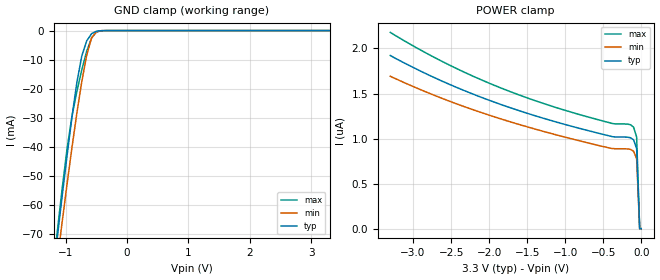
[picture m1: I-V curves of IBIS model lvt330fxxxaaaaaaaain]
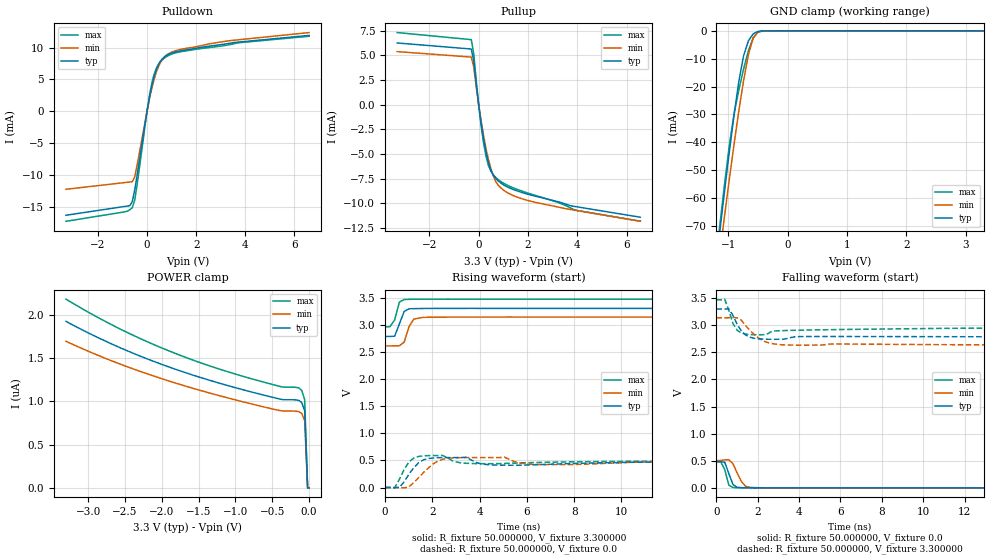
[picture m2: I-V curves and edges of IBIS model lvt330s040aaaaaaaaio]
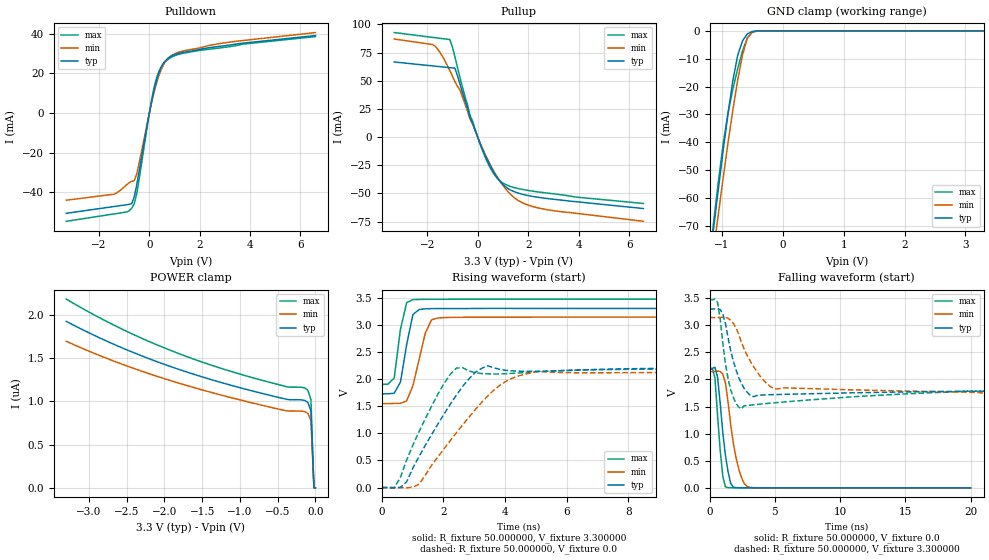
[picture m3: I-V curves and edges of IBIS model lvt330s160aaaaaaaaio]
| IBIS Models Generator: Lattice Diamond (64-bit) 3.12.0.240.2
| Generate date: Mon Aug 16 21:36:25 2021
| IBIS File machxo.ibs
| LibisGen v2.0.1.0, 02/25/2008, Lattice Semiconductor Corporation
| Modified by LibisMaker v2.0.1.0, 02/25/2008, Lattice Semiconductor
| North Carolina State University, ERL, 2006
[IBIS ver]   3.2
[File Name]   RAM2GS_LCMXO256C_im~.ibs
[File Rev]   2.2
[Date]   Mon Sep 28 10:44:10 EDT 2009
[Source]   Lattice Semiconductor EE12 Process
[Notes]   "Preliminary Version"
   Lattice Semiconductor has worked hard to ensure the
   models below are accurate and complete.  However, the
   data below was generated using simulation of the
   input/output model files for the silicon.  Therefore,
   the data below is for reference and initial design
   purposes only.
   The data below is correlated to Spice models.
   For questions regarding this data please contact
   us at www.latticesemi.com.
   Lattice Semiconductor grants permission to use this
   data for use in printed circuit design using this
   Lattice programmable logic device.  Other use of this
   code, including the selling or duplication of any
   portion is strictly prohibited.
|   NAMING CONVENTION
   The IBIS [Model] header is limited by the specification to a
   total of characters.  With such a set of characters available
   for naming models it becomes important to attempt to
   meaningfully encode the IO standards so they fit within the
   twenty character limit.  It would seem that twenty characters
   would provide room enough for describing IO's.  However, the
   PLD IO structure continues to grow more and more complex.  The
   complexity is making the twenty characters insuffiently
   descriptive.  In order to overcome this issue the naming
   convention described below is implemented to resolve the issue.
The twenty character space is managed as follows:
   bbbvvvsdddprugtcoixx
   b = standard
   v = voltage (x.xx V)
   s = slew code
   d = drive (xx.x ma)
   p = pullup code
   r = series resistance code
   u = terminate to vcc code
   g = terminate to gnd code
   t = terminate to vtt code
   c = common mode termination mode
   o = diff resistor code
   i = diff resistor current code
   x = reserved
   standard
   LVCMOS   lvc
   lvcmosd   lvd
   LVDSE   lve
   LVTTL   lvt
   lvttld   ltd
   PCI   pci
   pcix   pcx
   AGP1x   ag1
   agp2x   ag2
   sstl_I   ss1
   sstl_II   ss2
   sstld_I   s1d
   sstld_II   s2d
   CTT   ctt
   hstl_i   hs1
   hstl_ii   hs2
   hstl_iii   hs3
   hstl_iv   hs4
   hstld_i   h1d
   hstld_ii   h2d
   gtl   gtl
   gtlplus   gtp
   lvds   lvs
   blvds   blv
   mlvds   mlv
   lvpecl   lvp
   cml   cml
   hypt   hyp
   rsds   rsd
   vref1   vr1
   vref2   vr2
   ref_res   rer
   slew
   na   a
   fast   f
   slow   s
   pullmode
   off   a
   pullup   b
   pulldown   c
   bushold   d
   pciclamp   e
   up_pciclamp   f
   down_pciclamp   g
   keeper_pciclamp   h
   schmitt   i
   up_schmitt   j
   down_schmitt   k
   keeper_schmitt   l
   up_pciclamp_schmitt   m
   down_pciclamp_schmitt   n
   keeper_pciclamp_schmitt  o
   pciclamp_schmitt   p
   impedence
   off   a
   25   b
   33   c
   50   d
   100   e
   termVCC
   off   a
   50   b
   100   c
   120   d
   termGND
   off   a
   50   b
   100   c
   120   d
   termVTT
   off   a
   60   b
   75   c
   120   d
   150   e
   210   f
   VCMT
   off   a
   VCMT   b
   VTT   c
   DDR-2   d
   differential resistor
   off   a
   120   b
   150   c
   220   d
   420   e
   differential current
   NA   a
   2   b
   3.5   c
   4   d
   6   e
   Reserved   IO type
   in   input only
   ou   output
   io   I/O
   od   Open drain
   on   Inverting differential I/O
   (signal name only)
   op   Non-Inverting differential I/O
   (signal name only)
   All the IO models are generated with pull mode set to UP.
   Lattice Semiconductor Corporation
   5555 NE Moore Court
   Hillsboro, OR 97214
   U.S.A
   TEL: 1-800-Lattice (USA and Canada)
   408-826-6000 (other locations)
   web: http://www.latticesemi.com/
   email: techsupport@latticesemi.com
[Disclaimer] This IBIS source code is intended as a design reference
   which illustrates how the Lattice Semiconductor device operates.
   It is the user's responsibility to verify their design for
   consistency and functionality through the use of formal
   verification methods.  Lattice Semiconductor provides no warranty
   regarding the use or functionality of this data.
[Copyright]   Copyright 2009 by Lattice Semiconductor Corporation
|   Component XO
[Component]   MXO256_MXO640_MXO1K_MXO2K
[Manufacturer]   Lattice Semiconductor Corp.
[Package]
|TQFP100
| variable   typ   min   max
R_pkg   70.5m   54.0m   87.0m
L_pkg   4.57nH   4.27nH   4.87nH
C_pkg   .52pF   .47pF   .57pF
[Pin] signal_name   model_name   R_pin   L_pin   C_pin
32   CROW[0]   lvt330fxxxaaaaaaaain
34   CROW[1]   lvt330fxxxaaaaaaaain
21   Din[0]   lvt330fxxxaaaaaaaain
15   Din[1]   lvt330fxxxaaaaaaaain
14   Din[2]   lvt330fxxxaaaaaaaain
16   Din[3]   lvt330fxxxaaaaaaaain
18   Din[4]   lvt330fxxxaaaaaaaain
17   Din[5]   lvt330fxxxaaaaaaaain
20   Din[6]   lvt330fxxxaaaaaaaain
19   Din[7]   lvt330fxxxaaaaaaaain
1   Dout[0]   lvt330s040aaaaaaaaio
7   Dout[1]   lvt330s040aaaaaaaaio
8   Dout[2]   lvt330s040aaaaaaaaio
6   Dout[3]   lvt330s040aaaaaaaaio
4   Dout[4]   lvt330s040aaaaaaaaio
5   Dout[5]   lvt330s040aaaaaaaaio
2   Dout[6]   lvt330s040aaaaaaaaio
3   Dout[7]   lvt330s040aaaaaaaaio
57   LED   lvt330s160aaaaaaaaio
23   MAin[0]   lvt330fxxxaaaaaaaain
38   MAin[1]   lvt330fxxxaaaaaaaain
37   MAin[2]   lvt330fxxxaaaaaaaain
47   MAin[3]   lvt330fxxxaaaaaaaain
46   MAin[4]   lvt330fxxxaaaaaaaain
45   MAin[5]   lvt330fxxxaaaaaaaain
49   MAin[6]   lvt330fxxxaaaaaaaain
44   MAin[7]   lvt330fxxxaaaaaaaain
50   MAin[8]   lvt330fxxxaaaaaaaain
51   MAin[9]   lvt330fxxxaaaaaaaain
39   PHI2   lvt330fxxxaaaaaaaain
98   RA[0]   lvt330s040aaaaaaaaio
87   RA[10]   lvt330s040aaaaaaaaio
79   RA[11]   lvt330s040aaaaaaaaio
89   RA[1]   lvt330s040aaaaaaaaio
94   RA[2]   lvt330s040aaaaaaaaio
97   RA[3]   lvt330s040aaaaaaaaio
99   RA[4]   lvt330s040aaaaaaaaio
95   RA[5]   lvt330s040aaaaaaaaio
91   RA[6]   lvt330s040aaaaaaaaio
100   RA[7]   lvt330s040aaaaaaaaio
96   RA[8]   lvt330s040aaaaaaaaio
85   RA[9]   lvt330s040aaaaaaaaio
63   RBA[0]   lvt330s040aaaaaaaaio
83   RBA[1]   lvt330s040aaaaaaaaio
82   RCKE   lvt330s040aaaaaaaaio
86   RCLK   lvt330fxxxaaaaaaaain
76   RDQMH   lvt330s040aaaaaaaaio
61   RDQML   lvt330s040aaaaaaaaio
64   RD[0]   lvt330s040aaaaaaaaio
65   RD[1]   lvt330s040aaaaaaaaio
66   RD[2]   lvt330s040aaaaaaaaio
67   RD[3]   lvt330s040aaaaaaaaio
68   RD[4]   lvt330s040aaaaaaaaio
69   RD[5]   lvt330s040aaaaaaaaio
70   RD[6]   lvt330s040aaaaaaaaio
71   RD[7]   lvt330s040aaaaaaaaio
58   UFMCLK   lvt330s040aaaaaaaaio
56   UFMSDI   lvt330s040aaaaaaaaio
55   UFMSDO   lvt330fxxxaaaaaaaain
27   nCCAS   lvt330fxxxaaaaaaaain
43   nCRAS   lvt330fxxxaaaaaaaain
22   nFWE   lvt330fxxxaaaaaaaain
78   nRCAS   lvt330s040aaaaaaaaio
77   nRCS   lvt330s040aaaaaaaaio
73   nRRAS   lvt330s040aaaaaaaaio
72   nRWE   lvt330s040aaaaaaaaio
53   nUFMCS   lvt330s040aaaaaaaaio
| Models and submodels in the file (3): lvt330fxxxaaaaaaaain (Input), lvt330s040aaaaaaaaio (I/O), lvt330s160aaaaaaaaio (I/O)
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[Model]   lvt330fxxxaaaaaaaain
Model_type   Input
Polarity   Non-Inverting
Enable   Active-Low
Vinl =   0.800000V
Vinh =   2.000000V
C_comp   2.68pF   2.54pF   2.92pF
[Temperature Range]   25.000000   0.105000k   -40.000000
[Voltage Range]   3.300000V   3.140000V   3.470000V
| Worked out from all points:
|   GND clamp passes 1 mA (typ) near -0.57 V on its own axis
[GND_clamp]
|Voltage   I(typ)   I(min)   I(max)
-3.3V     -966.2mA   -950.5mA   -981.2mA
-1.14V    -71.66mA   -79.64mA   -69.55mA
-1.06V    -57.22mA   -66.14mA   -54.65mA
-980mV    -43.21mA   -53.02mA   -40.87mA
-900mV    -29.92mA   -40.4mA    -29.6mA
-820mV    -17.96mA   -28.51mA   -21.04mA
-740mV    -8.811mA   -17.67mA   -13.57mA
-660mV    -3.585mA   -8.563mA   -7.151mA
-580mV    -1.078mA   -2.529mA   -2.551mA
-500mV    -216.5uA   -395.1uA   -485.3uA
-340mV    -4.48uA    -6.181uA   -4.704uA
3.3V      152nA      1.621uA    132.3nA
[POWER_clamp]
|Voltage   I(typ)   I(min)   I(max)
-3.3V     1.922uA    1.692uA    2.179uA
-2.94V    1.765uA    1.556uA    2.001uA
-2.54V    1.609uA    1.421uA    1.823uA
-1.74V    1.348uA    1.191uA    1.527uA
-1.26V    1.219uA    1.074uA    1.383uA
-700mV    1.089uA    951.8nA    1.24uA
-380mV    1.022uA    889.5nA    1.168uA
-140mV    1.009uA    880.1nA    1.154uA
-100mV    985.5nA    859.3nA    1.126uA
-60mV     890.1nA    776.2nA    1.017uA
-20mV     1.5pA      1.2pA      1.8pA
0V        0A         0A         0A
[Model]   lvt330s040aaaaaaaaio
Model_type   I/O
Polarity   Non-Inverting
Enable   Active-Low
Vinl =   0.800000V
Vinh =   2.000000V
Vmeas =   1.650000V
Cref =   0.0F
Rref =   1.000000M
Vref =   0.0V
C_comp   2.68pF   2.54pF   2.92pF
[Temperature Range]   25.000000   0.105000k   -40.000000
[Voltage Range]   3.300000V   3.140000V   3.470000V
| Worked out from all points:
|   slope of the pulldown table from 0 to 0.495 V, typ, clamps not added: 65.9 ohm
|   slope of the pullup table from 0 to 0.495 V, typ, clamps not added: 74.4 ohm
|   GND clamp passes 1 mA (typ) near -0.57 V on its own axis
|   rising waveform, R_fixture 50.000000, V_fixture 3.300000: 20-80 % time 275ps typ, 279ps min, 212ps max; typ from 2.78 V to 3.3 V
|   rising waveform, R_fixture 50.000000, V_fixture 0.0: 20-80 % time 472ps typ, 707ps min, 353ps max; typ from 0 V to 0.479 V
|   falling waveform, R_fixture 50.000000, V_fixture 0.0: 20-80 % time 280ps typ, 394ps min, 236ps max; typ from 0.48 V to 0 V
|   falling waveform, R_fixture 50.000000, V_fixture 3.300000: 20-80 % time 454ps typ, 845ps min, 269ps max; typ from 3.3 V to 2.78 V
[Pulldown]
|Voltage   I(typ)   I(min)   I(max)
-3.3V     -16.26mA   -12.2mA    -17.21mA
-700mV    -14.76mA   -11.06mA   -15.39mA
-600mV    -14.12mA   -11.01mA   -15.09mA
-500mV    -12.31mA   -10.25mA   -13.89mA
-400mV    -9.922mA   -8.354mA   -11.4mA
0V        9.27nA     8.64nA     10.95nA
200mV     4.086mA    3.684mA    4.499mA
400mV     6.738mA    6.352mA    6.93mA
700mV     8.511mA    8.477mA    8.338mA
1.2V      9.34mA     9.543mA    9.202mA
2.7V      10.3mA     10.68mA    10.07mA
6.6V      11.89mA    12.34mA    11.76mA
[Pullup]
|Voltage   I(typ)   I(min)   I(max)
-3.3V     6.26mA     5.385mA    7.315mA
-300mV    5.646mA    4.829mA    6.598mA
-200mV    4.436mA    3.802mA    5.175mA
0V        -6.17nA    -5.46nA    -7.06nA
100mV     -1.893mA   -1.674mA   -2.146mA
200mV     -3.512mA   -3.165mA   -3.901mA
300mV     -4.855mA   -4.471mA   -5.258mA
500mV     -6.695mA   -6.526mA   -6.766mA
800mV     -7.747mA   -8.192mA   -7.615mA
1.7V      -8.86mA    -9.494mA   -8.714mA
3.9V      -10.32mA   -10.71mA   -10.68mA
6.55V     -11.41mA   -11.82mA   -11.81mA
[GND_clamp]
|Voltage   I(typ)   I(min)   I(max)
-3.3V     -966.2mA   -950.5mA   -981.2mA
-1.14V    -71.66mA   -79.64mA   -69.55mA
-1.06V    -57.22mA   -66.14mA   -54.65mA
-980mV    -43.21mA   -53.02mA   -40.87mA
-900mV    -29.92mA   -40.4mA    -29.6mA
-820mV    -17.96mA   -28.51mA   -21.04mA
-740mV    -8.811mA   -17.67mA   -13.57mA
-660mV    -3.585mA   -8.563mA   -7.151mA
-580mV    -1.078mA   -2.529mA   -2.551mA
-500mV    -216.5uA   -395.1uA   -485.3uA
-340mV    -4.48uA    -6.181uA   -4.704uA
3.3V      152nA      1.621uA    132.3nA
[POWER_clamp]
|Voltage   I(typ)   I(min)   I(max)
-3.3V     1.922uA    1.692uA    2.179uA
-2.94V    1.765uA    1.556uA    2.001uA
-2.54V    1.609uA    1.421uA    1.823uA
-1.74V    1.348uA    1.191uA    1.527uA
-1.26V    1.219uA    1.074uA    1.383uA
-700mV    1.089uA    951.8nA    1.24uA
-380mV    1.022uA    889.5nA    1.168uA
-140mV    1.009uA    880.1nA    1.154uA
-100mV    985.5nA    859.3nA    1.126uA
-60mV     890.1nA    776.2nA    1.017uA
-20mV     1.5pA      1.2pA      1.8pA
0V        0A         0A         0A
[Ramp]
| variable   typ   min   max
dV/dt_r  0.287457/0.467122n  0.301305/0.700268n  0.291706/0.349090n
dV/dt_f  0.309900/0.449885n  0.304680/0.837003n  0.308100/0.266290n
R_load = 50.000000
[Rising Waveform]
R_fixture=   50.000000
V_fixture=   3.300000
V_fixture_min=   3.140000
V_fixture_max=   3.470000
|time   V(typ)   V(min)   V(max)
0s        2.783V     2.609V     2.96V
202ps     2.783V     2.609V     2.963V
404ps     2.788V     2.611V     3.087V
606.1ps   3.016V     2.612V     3.417V
808.1ps   3.244V     2.679V     3.463V
1.01ns    3.292V     2.962V     3.467V
1.212ns   3.296V     3.103V     3.469V
1.616ns   3.299V     3.136V     3.47V
5.253ns   3.3V       3.141V     3.47V
20ns      3.3V       3.14V      3.47V
[Rising Waveform]
R_fixture=   50.000000
V_fixture=   0.0
V_fixture_min=   0.0
V_fixture_max=   0.0
|time   V(typ)   V(min)   V(max)
0s        4.226uV    4.92uV     3.956uV
404ps     -1.733mV   5.664uV    -6.572mV
606.1ps   1.817mV    -405uV     151.9mV
1.01ns    246.8mV    13.03mV    470.8mV
1.818ns   534.4mV    353.6mV    588mV
2.424ns   550.8mV    517.3mV    590.9mV
3.03ns    551.6mV    548.7mV    468.1mV
5.051ns   411.1mV    558.9mV    443.3mV
6.667ns   423.7mV    422.4mV    463.5mV
20ns      479.1mV    502.2mV    486.2mV
[Falling Waveform]
R_fixture=   50.000000
V_fixture=   0.0
V_fixture_min=   0.0
V_fixture_max=   0.0
|time   V(typ)   V(min)   V(max)
0s        479.6mV    504.1mV    486.2mV
202ps     479.6mV    504.1mV    490.5mV
404ps     474.7mV    515.9mV    338.7mV
606.1ps   261mV      518.8mV    49.23mV
808.1ps   57.69mV    442.4mV    5.359mV
1.01ns    10.01mV    270.6mV    1.611mV
1.212ns   3.219mV    116.6mV    420.3uV
1.414ns   1.54mV     28.45mV    168.6uV
1.818ns   242.7uV    4.556mV    28.11uV
20ns      4.294uV    6.077uV    3.344uV
[Falling Waveform]
R_fixture=   50.000000
V_fixture=   3.300000
V_fixture_min=   3.140000
V_fixture_max=   3.470000
|time   V(typ)   V(min)   V(max)
0s        3.3V       3.14V      3.47V
404ps     3.301V     3.139V     3.483V
606.1ps   3.304V     3.14V      3.272V
808.1ps   3.179V     3.146V     3.03V
1.01ns    3.015V     3.136V     2.907V
1.616ns   2.781V     2.91V      2.829V
2.222ns   2.745V     2.722V     2.826V
3.232ns   2.743V     2.639V     2.902V
4.444ns   2.794V     2.634V     2.913V
20ns      2.784V     2.632V     2.957V
[Model]   lvt330s160aaaaaaaaio
Model_type   I/O
Polarity   Non-Inverting
Enable   Active-Low
Vinl =   0.800000V
Vinh =   2.000000V
Vmeas =   1.650000V
Cref =   0.0F
Rref =   1.000000M
Vref =   0.0V
C_comp   2.68pF   2.54pF   2.92pF
[Temperature Range]   25.000000   0.105000k   -40.000000
[Voltage Range]   3.300000V   3.140000V   3.470000V
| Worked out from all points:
|   slope of the pulldown table from 0 to 0.495 V, typ, clamps not added: 21 ohm
|   slope of the pullup table from 0 to 0.495 V, typ, clamps not added: 19.3 ohm
|   GND clamp passes 1 mA (typ) near -0.57 V on its own axis
|   rising waveform, R_fixture 50.000000, V_fixture 3.300000: 20-80 % time 301ps typ, 401ps min, 257ps max; typ from 1.73 V to 3.3 V
|   rising waveform, R_fixture 50.000000, V_fixture 0.0: 20-80 % time 1.41ns typ, 1.85ns min, 1.09ns max; typ from 0 V to 2.2 V
|   falling waveform, R_fixture 50.000000, V_fixture 0.0: 20-80 % time 592ps typ, 813ps min, 429ps max; typ from 2.2 V to 0 V
|   falling waveform, R_fixture 50.000000, V_fixture 3.300000: 20-80 % time 917ps typ, 2.42ns min, 533ps max; typ from 3.3 V to 1.78 V
[Pulldown]
|Voltage   I(typ)   I(min)   I(max)
-3.3V     -50.58mA   -44mA      -54.62mA
-1.4V     -47.16mA   -40.96mA   -50.9mA
-700mV    -45.75mA   -34.43mA   -47.99mA
-600mV    -42.25mA   -34.2mA    -45.78mA
-500mV    -36.17mA   -30.75mA   -40.6mA
0V        27.19nA    25.68nA    31.68nA
200mV     12.31mA    11.16mA    13.53mA
400mV     20.91mA    19.66mA    21.67mA
700mV     27.21mA    27.01mA    26.7mA
1.2V      30.22mA    30.85mA    29.77mA
2.6V      33.37mA    34.65mA    32.57mA
6.6V      39.13mA    40.62mA    38.6mA
[Pullup]
|Voltage   I(typ)   I(min)   I(max)
-3.3V     66.67mA    87.09mA    92.8mA
-1.8V     63.23mA    82.32mA    88.56mA
-1.1V     61.63mA    59.06mA    86.58mA
-900mV    61.17mA    49.19mA    71.28mA
-700mV    47.05mA    41.79mA    52.9mA
-300mV    17.1mA     15.82mA    19mA
100mV     -5.905mA   -5.395mA   -6.53mA
600mV     -29.95mA   -28.77mA   -31.34mA
1V        -42.15mA   -42.97mA   -40.89mA
1.6V      -49.72mA   -56.3mA    -45.7mA
2.3V      -53.16mA   -62.43mA   -48.42mA
6.55V     -63.46mA   -74.8mA    -58.95mA
[GND_clamp]
|Voltage   I(typ)   I(min)   I(max)
-3.3V     -966.2mA   -950.5mA   -981.2mA
-1.14V    -71.66mA   -79.64mA   -69.55mA
-1.06V    -57.22mA   -66.14mA   -54.65mA
-980mV    -43.21mA   -53.02mA   -40.87mA
-900mV    -29.92mA   -40.4mA    -29.6mA
-820mV    -17.96mA   -28.51mA   -21.04mA
-740mV    -8.811mA   -17.67mA   -13.57mA
-660mV    -3.585mA   -8.563mA   -7.151mA
-580mV    -1.078mA   -2.529mA   -2.551mA
-500mV    -216.5uA   -395.1uA   -485.3uA
-340mV    -4.48uA    -6.181uA   -4.704uA
3.3V      152nA      1.621uA    132.3nA
[POWER_clamp]
|Voltage   I(typ)   I(min)   I(max)
-3.3V     1.922uA    1.692uA    2.179uA
-2.94V    1.765uA    1.556uA    2.001uA
-2.54V    1.609uA    1.421uA    1.823uA
-1.74V    1.348uA    1.191uA    1.527uA
-1.26V    1.219uA    1.074uA    1.383uA
-700mV    1.089uA    951.8nA    1.24uA
-380mV    1.022uA    889.5nA    1.168uA
-140mV    1.009uA    880.1nA    1.154uA
-100mV    985.5nA    859.3nA    1.126uA
-60mV     890.1nA    776.2nA    1.017uA
-20mV     1.5pA      1.2pA      1.8pA
0V        0A         0A         0A
[Ramp]
| variable   typ   min   max
dV/dt_r  1.322279/1.397370n  1.285979/1.830494n  1.312139/1.075717n
dV/dt_f  0.909660/0.907875n  0.826020/1.758264n  1.011840/0.527820n
R_load = 50.000000
[Rising Waveform]
R_fixture=   50.000000
V_fixture=   3.300000
V_fixture_min=   3.140000
V_fixture_max=   3.470000
|time   V(typ)   V(min)   V(max)
0s        1.726V     1.546V     1.9V
202ps     1.727V     1.546V     1.905V
404ps     1.737V     1.55V      2.018V
606.1ps   1.942V     1.552V     2.913V
808.1ps   2.634V     1.597V     3.407V
1.01ns    3.187V     1.875V     3.461V
1.414ns   3.293V     2.848V     3.467V
1.616ns   3.296V     3.09V      3.468V
1.818ns   3.297V     3.124V     3.468V
20ns      3.3V       3.14V      3.47V
[Rising Waveform]
R_fixture=   50.000000
V_fixture=   0.0
V_fixture_min=   0.0
V_fixture_max=   0.0
|time   V(typ)   V(min)   V(max)
0s        1.86uV     2.247uV    1.68uV
404ps     -1.717mV   272.5nV    -4.681mV
808.1ps   107mV      -5.196mV   507.8mV
1.212ns   574.2mV    63.09mV    1.032V
2.02ns    1.354V     714.4mV    1.916V
2.424ns   1.705V     1.013V     2.202V
3.434ns   2.243V     1.684V     2.095V
4.04ns    2.158V     1.962V     2.098V
5.051ns   2.142V     2.138V     2.135V
20ns      2.204V     2.143V     2.187V
[Falling Waveform]
R_fixture=   50.000000
V_fixture=   0.0
V_fixture_min=   0.0
V_fixture_max=   0.0
|time   V(typ)   V(min)   V(max)
0s        2.204V     2.143V     2.187V
404ps     2.223V     2.148V     2.033V
606.1ps   2.041V     2.153V     1.33V
1.01ns    1.011V     2.097V     210mV
1.212ns   595.5mV    1.931V     16.67mV
1.616ns   80.61mV    1.161V     1.54mV
2.02ns    3.438mV    556.3mV    249.1uV
2.626ns   612.5uV    87.87mV    -2.069uV
3.03ns    375.1uV    11.83mV    -24.87uV
20ns      -1.207uV   12.11uV    -4.724uV
[Falling Waveform]
R_fixture=   50.000000
V_fixture=   3.300000
V_fixture_min=   3.140000
V_fixture_max=   3.470000
|time   V(typ)   V(min)   V(max)
0s        3.3V       3.14V      3.47V
606.1ps   3.308V     3.14V      3.421V
1.01ns    3.205V     3.144V     2.661V
1.212ns   3.025V     3.146V     2.287V
1.616ns   2.526V     3.092V     1.804V
2.424ns   1.932V     2.695V     1.454V
3.232ns   1.687V     2.288V     1.528V
5.051ns   1.72V      1.824V     1.57V
19.8ns    1.783V     1.764V     1.782V
40ns      1.784V     1.55V      1.784V
